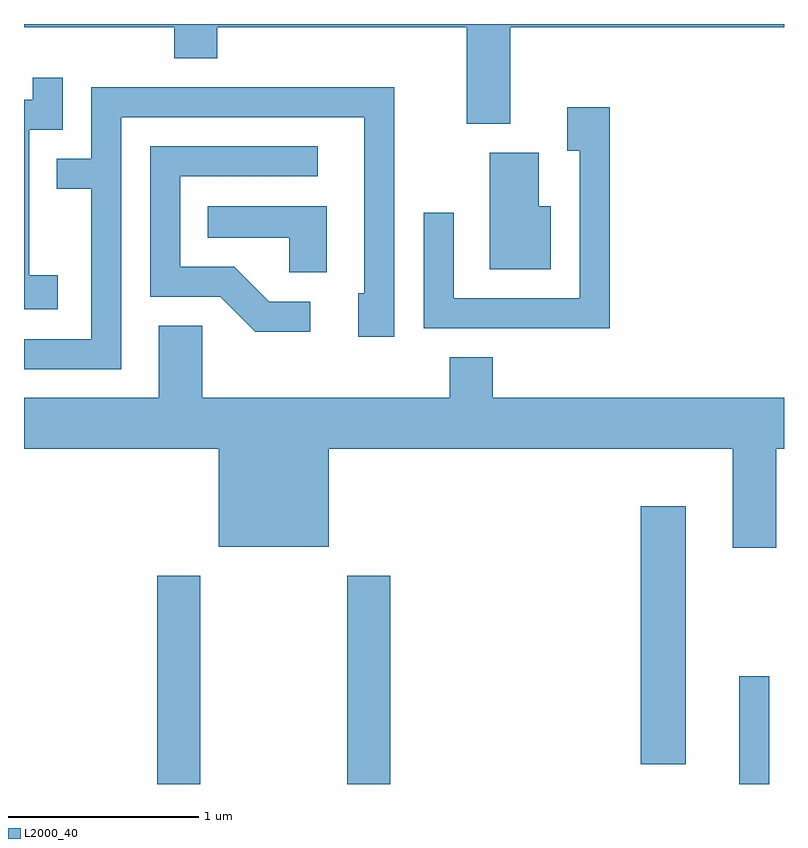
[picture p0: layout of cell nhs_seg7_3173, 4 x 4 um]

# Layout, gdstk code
import gdstk
lib = gdstk.Library(unit=1e-6, precision=1e-09)
def R(c, l, rs):  # rectangles x0, y0, x1, y1
    for r in rs: c.add(gdstk.rectangle(r[:2], r[2:], *l))
def P(c, l, *ps):  # polygons
    for p in ps: c.add(gdstk.Polygon(p, *l))
L2000_40 = (2000, 40)

nhs_seg7_3173 = lib.new_cell('nhs_seg7_3173')
R(nhs_seg7_3173, L2000_40, [(282.311,1790.252,282.539,1791.349), (283.311,1790.252,283.539,1791.349), (285.376,1790.252,285.534,1790.818), (284.856,1790.356,285.094,1791.714)])
P(nhs_seg7_3173, L2000_40, [(284.169,1794.236),(285.611,1794.236),(285.611,1794.252),(281.611,1794.252),(281.611,1794.236),(282.401,1794.236),(282.401,1794.071),(282.629,1794.071),(282.629,1794.236),(283.941,1794.236),(283.941,1793.726),(284.169,1793.726)],
  [(281.789,1792.929),(281.639,1792.929),(281.639,1793.696),(281.814,1793.696),(281.814,1793.968),(281.656,1793.968),(281.656,1793.854),(281.611,1793.854),(281.611,1792.751),(281.789,1792.751)],
  [(282.124,1793.761),(283.401,1793.761),(283.401,1792.834),(283.371,1792.834),(283.371,1792.606),(283.559,1792.606),(283.559,1793.919),(281.966,1793.919),(281.966,1793.544),(281.783,1793.544),(281.783,1793.386),(281.966,1793.386),(281.966,1792.594),(281.611,1792.594),(281.611,1792.436),(282.124,1792.436)],
  [(284.694,1793.814),(284.471,1793.814),(284.471,1793.586),(284.536,1793.586),(284.536,1792.809),(283.874,1792.809),(283.874,1793.258),(283.716,1793.258),(283.716,1792.651),(284.694,1792.651)],
  [(283.118,1792.789),(282.902,1792.789),(282.717,1792.974),(282.434,1792.974),(282.434,1793.451),(283.158,1793.451),(283.158,1793.609),(282.276,1793.609),(282.276,1792.816),(282.644,1792.816),(282.829,1792.631),(283.118,1792.631)],
  [(284.384,1793.294),(284.319,1793.294),(284.319,1793.574),(284.061,1793.574),(284.061,1792.961),(284.384,1792.961)],
  [(283.204,1793.294),(282.578,1793.294),(282.578,1793.126),(283.006,1793.126),(283.006,1792.946),(283.204,1792.946)],
  [(285.569,1792.016),(285.611,1792.016),(285.611,1792.284),(284.079,1792.284),(284.079,1792.499),(283.851,1792.499),(283.851,1792.284),(282.549,1792.284),(282.549,1792.664),(282.321,1792.664),(282.321,1792.284),(281.611,1792.284),(281.611,1792.016),(282.636,1792.016),(282.636,1791.501),(283.214,1791.501),(283.214,1792.016),(285.341,1792.016),(285.341,1791.496),(285.569,1791.496)])

lib.write_gds('nhs_seg7_3173.gds')
